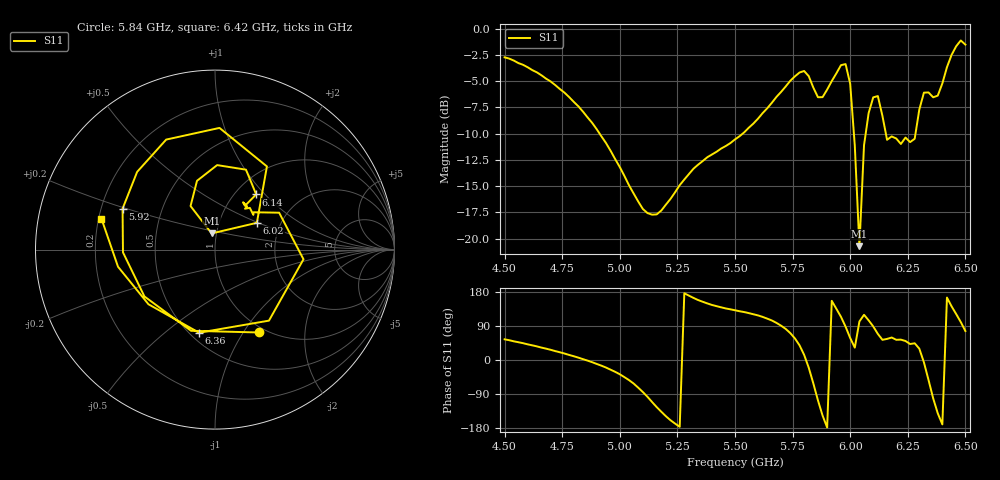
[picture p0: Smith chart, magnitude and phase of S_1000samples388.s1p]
! TOUCHSTONE file generated by CST MICROWAVE STUDIO
! Date and time: Fri Oct 28 00:08:06 2022
! Project name: L.cst
! Parameters = {Di=1.27; Epsilon_r=1.56; InnerDiameter=1.27; Length=2; Lf=10; Lg=60; OuterConductorThickness=0.2921; OuterDiameter=3.6; Wf=3; Wp=41.2; de=1.5; df=6.8; g=0.8; gx=1.6258; gy=1.68419; h=2.34; hf=1.524; px=12.2451; py=13.7366; w=9.7; wx=10.6193; wy=12.0524}
! Header version: 2018
! Port assignment regex: !\s*Touchstone port\s*([0-9]+)\s*=\s*(CST MWS port|CST DS port)\s*([0-9]+|Zmin|Zmax)\s*\(\"(.*)\"\)(\s*mode\s*([0-9]+))?.*
! Touchstone port assignment:
! Touchstone port 1 = CST MWS port 1 ("")
# GHz S DB R 50
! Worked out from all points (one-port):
!   101 points, 4.5 GHz to 6.5 GHz, reference 50 ohm
!   lowest |S11| = -20.7 dB at 6.04 GHz (marker M1), VSWR 1.20, Z = 47.4 + j8.61 ohm
!   |S11| at or under -10 dB: 4.912 GHz to 5.533 GHz (620.9 MHz wide, 11.9 % of centre); 6.016 GHz to 6.067 GHz (51.14 MHz wide, 0.847 % of centre); 6.155 GHz to 6.283 GHz (128.7 MHz wide, 2.07 % of centre)
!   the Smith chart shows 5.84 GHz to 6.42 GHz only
!   S11 on the Smith chart (normalised r, x): 5.84 GHz: 0.93, -1.19; 5.92 GHz: 0.29, +0.19; 6.02 GHz: 1.51, +0.49; 6.14 GHz: 1.24, +0.89; 6.36 GHz: 0.56, -0.66; 6.42 GHz: 0.21, +0.13
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4.5  -2.73 54.5
4.76  -6.09 17.1
5  -13.19 -37.7
5.14  -17.72 -110.9
5.26  -14.91 -176.2
5.5  -10.55 131.2
5.66  -7.06 104.3
5.76  -4.54 56.9
5.8  -4.03 13.7
5.82  -4.52 -20.2
5.84  -5.61 -61.8
5.88  -6.52 -146.4
5.92  -4.99 156.1
5.98  -3.37 87.9
6  -5.25 58.0
6.02  -11.15 32.6
6.04  -20.73 101.7
6.06  -11.11 119.3
6.08  -8.04 104.7
6.14  -8.32 53.2
6.26  -10.81 42.2
6.3  -7.70 29.9
6.32  -6.09 -6.2
6.34  -6.07 -52.8
6.36  -6.53 -100.9
6.42  -3.66 164.7
6.46  -1.67 121.2
6.5  -1.52 76.4
